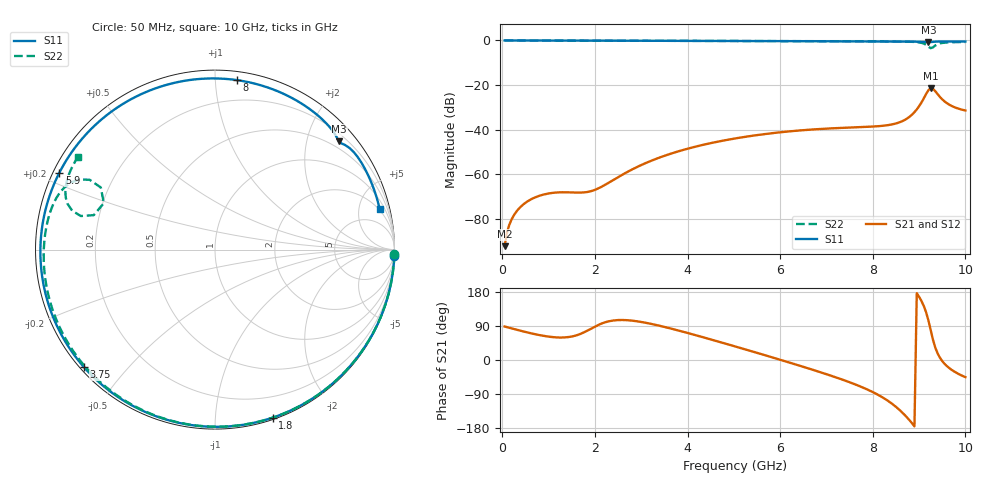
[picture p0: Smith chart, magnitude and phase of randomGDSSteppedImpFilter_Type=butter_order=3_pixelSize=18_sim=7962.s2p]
! freq	dB(S11)	phase(S11)	dB(S12)	phase(S12)
!  dB(S21)	phase(S21)	dB(S22)	phase(S22)
!S-par simulation data
#  GHz  S  DB  R 50
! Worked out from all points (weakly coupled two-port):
!   200 points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, 50 MHz to 10 GHz, reference 50 ohm
!   highest |S21| = -21.36 dB at 9.25 GHz (marker M1); lowest = -92.1 dB at 50 MHz (marker M2)
!   lowest |S11| = -0.8 dB at 9.2 GHz (marker M3), VSWR 23.07, Z = 17.4 + j131 ohm
!   |S11| at or under -10 dB: nowhere
!   |S22| runs from -3.5 to 0.0 dB; largest |S21 - S12| = 0
!   S11 on the Smith chart (normalised r, x): 50 MHz: 0, -55; 1.8 GHz: 0.02, -1.40; 3.75 GHz: 0.01, -0.38; 5.9 GHz: 0.02, +0.23; 8 GHz: 0.06, +1.13; 10 GHz: 1.87, +7.83
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0.05  -0.00 -2.1  -92.14 88.4  -92.14 88.4  -0.00 -1.3
0.2  -0.01 -8.2  -80.18 83.4  -80.18 83.4  -0.01 -5.3
0.45  -0.03 -18.4  -73.51 75.5  -73.51 75.5  -0.01 -11.8
0.8  -0.04 -32.4  -69.57 65.8  -69.57 65.8  -0.03 -20.8
1.75  -0.09 -69.2  -68.08 72.2  -68.08 72.2  -0.06 -44.8
1.8  -0.09 -71.1  -67.98 75.2  -67.98 75.2  -0.06 -46.1
2.55  -0.12 -98.0  -60.62 105.5  -60.62 105.5  -0.08 -64.2
3.4  -0.15 -126.7  -52.41 90.2  -52.41 90.2  -0.11 -83.6
3.75  -0.17 -138.1  -49.98 79.6  -49.98 79.6  -0.12 -91.3
5.05  -0.24 -179.2  -43.81 35.0  -43.81 35.0  -0.17 -118.6
5.9  -0.29 153.7  -41.36 4.4  -41.36 4.4  -0.22 -135.5
6.7  -0.34 127.5  -39.87 -25.7  -39.87 -25.7  -0.28 -151.2
7.35  -0.38 105.4  -39.14 -52.0  -39.14 -52.0  -0.33 -164.0
8  -0.43 82.7  -38.57 -84.6  -38.57 -84.6  -0.39 -177.2
8.35  -0.45 70.3  -37.86 -109.6  -37.86 -109.6  -0.44 175.3
8.85  -0.52 52.5  -33.17 -167.3  -33.17 -167.3  -0.62 162.6
9.1  -0.66 43.7  -26.00 143.0  -26.00 143.0  -1.38 152.8
9.2  -0.75 41.1  -22.30 105.1  -22.30 105.1  -2.80 151.4
9.25  -0.73 40.1  -21.36 79.2  -21.36 79.2  -3.46 157.3
9.35  -0.54 37.0  -22.74 32.8  -22.74 32.8  -2.27 165.9
9.5  -0.46 31.2  -26.38 -2.9  -26.38 -2.9  -1.11 160.9
10  -0.49 13.8  -31.37 -45.3  -31.37 -45.3  -0.71 145.9
